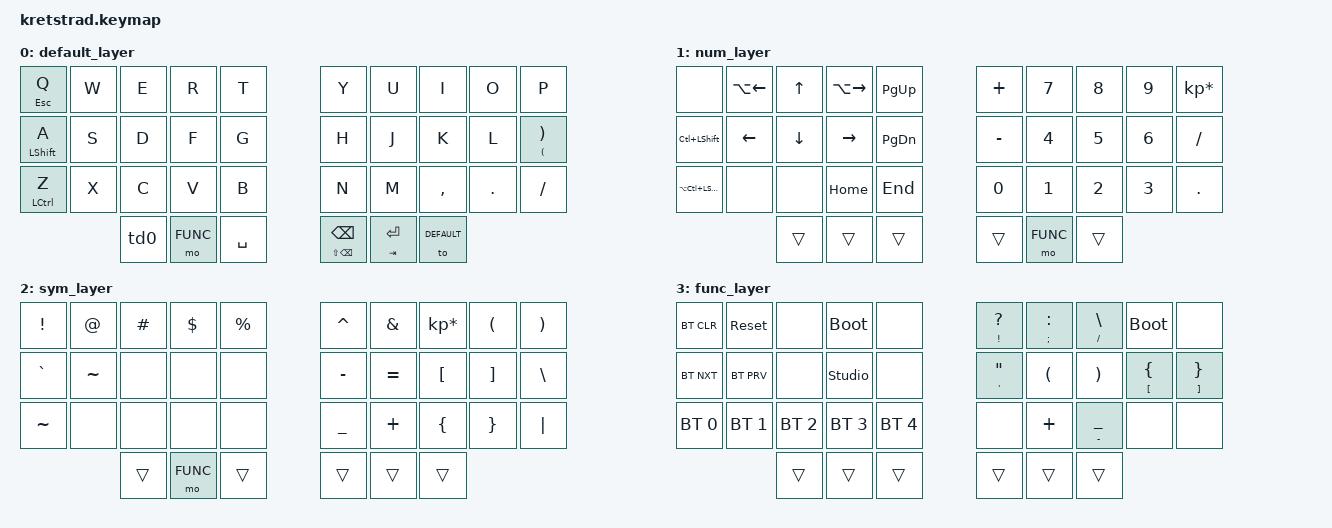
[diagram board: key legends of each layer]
/*
 * Copyright (c) 2020 The ZMK Contributors
 *
 * SPDX-License-Identifier: MIT
 */

#include <behaviors.dtsi>
#include <dt-bindings/zmk/keys.h>
#include <dt-bindings/zmk/bt.h>

/*
*#include <dt-bindings/zmk/ext_power.h>
*/

// LAYERS
#define DEFAULT 0
#define NUM     1
#define SYM     2
#define FUNC    3

// MACROS
#define SUPER LC(LSHIFT)
#define SUPER2 LA(LC(LSHIFT))


/

 {
  behaviors {
    hm: homerow_mods {
      compatible = "zmk,behavior-hold-tap";
      label = "HOMEROW_MODS";
      #binding-cells = <2>;
      tapping-term-ms = <200>;
      quick-tap-ms = <0>;
      flavor = "tap-preferred";
      bindings = <&kp>, <&kp>;
    };

    td0: tap_dance_0 {
      compatible = "zmk,behavior-tap-dance";
      label = "TAP_DANCE_0";
      #binding-cells = <0>;
      tapping-term-ms = <200>;
      bindings = <&to 1>, <&tog 2>, <&tog 3>;
    };

    td1: tap_dance_1 {
      compatible = "zmk,behavior-tap-dance";
      label = "TAP_DANCE_1";
      #binding-cells = <0>;
      tapping-term-ms = <200>;
      bindings = <&mt LCTRL TAB>, <&kp ESC>;
    };
  };

  combos {
    compatible = "zmk,combos";
    combo_cword {
      timeout-ms = <50>;
      key-positions = <16 19>;
      bindings = <&caps_word>;
    };

    combo_vimwq {
      timeout-ms = <50>;
      key-positions = <1 2>;
      bindings = <&vim_quit>;
    };
  };

  macros {
        vim_quit: vim_quit {
            label = "ZM_vim_quit";
            compatible = "zmk,behavior-macro";
            #binding-cells = <0>;
            bindings
                = <&macro_tap &kp ESC &kp COLON &kp W &kp Q>;
        };
    };





  keymap {
    compatible = "zmk,keymap";

    default_layer {
      bindings = <

&mt ESC Q       &kp W       &kp E       &kp R       &kp T     /**/  &kp Y       &kp U       &kp I       &kp O       &kp P          
&mt LSHIFT A    &kp S       &kp D       &kp F       &kp G     /**/  &kp H       &kp J       &kp K       &kp L       &mt LPAR RPAR           
&mt LCTRL Z     &kp X       &kp C       &kp V       &kp B     /**/  &kp N       &kp M       &kp COMMA   &kp DOT     &kp FSLH       
                 &td0   /**/   &mo FUNC  /**/   &kp SPACE     /**/  &mt LS(BSPC) BACKSPACE   /**/   &mt TAB ENTER  /**/   &to DEFAULT
      >;
    };

    num_layer {
      bindings = <

&none         &kp LA(LEFT)  &kp UP        &kp LA(RIGHT)  &kp PG_UP  /**/  &kp PLUS   &kp N7  &kp N8  &kp N9  &kp KP_MULTIPLY 
&kp SUPER     &kp LEFT      &kp DOWN      &kp RIGHT      &kp PG_DN  /**/  &kp MINUS  &kp N4  &kp N5  &kp N6  &kp SLASH        
&kp SUPER2    &none         &none         &kp HOME       &kp END    /**/  &kp N0     &kp N1  &kp N2  &kp N3  &kp DOT          
                                            &trans  &trans  &trans  /**/  &trans  &mo FUNC  &trans
      >;
    };

    sym_layer {
      bindings = <

&kp EXCL    &kp AT         &kp HASH     &kp DLLR    &kp PRCNT   /**/  &kp CARET &kp AMPS  &kp KP_MULTIPLY &kp LPAR &kp RPAR 
&kp GRAVE   &kp TILDE      &none        &none       &none       /**/  &kp MINUS &kp EQUAL &kp LBKT        &kp RBKT &kp BSLH 
&kp TILDE   &none          &none        &none       &none       /**/  &kp UNDER &kp PLUS  &kp LBRC        &kp RBRC &kp PIPE 
                                &trans    &mo FUNC    &trans    /**/  &trans    &trans    &trans
      >;
    };

    func_layer {
      bindings = <

&bt BT_CLR       &sys_reset       &none             &bootloader       &none         /**/  &mt EXCL QMARK    &mt SEMI COLON    &mt SLASH BSLH      &bootloader      &none       
&bt BT_NXT       &bt BT_PRV       &none             &studio_unlock    &none         /**/  &mt APOS DQT      &kp LPAR          &kp RPAR            &mt LBKT LBRC    &mt RBKT RBRC       
&bt BT_SEL 0     &bt BT_SEL 1     &bt BT_SEL 2     &bt BT_SEL 3       &bt BT_SEL 4  /**/  &none             &kp PLUS          &mt MINUS UNDER     &none            &none      
                                         &trans   /**/   &trans  /**/   &trans      /**/      &trans   /**/   &trans  /**/   &trans
      >;
    };

    extra1 {
      status = "reserved";
    };

    extra2 {
      status = "reserved";
    };
    
  };
};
